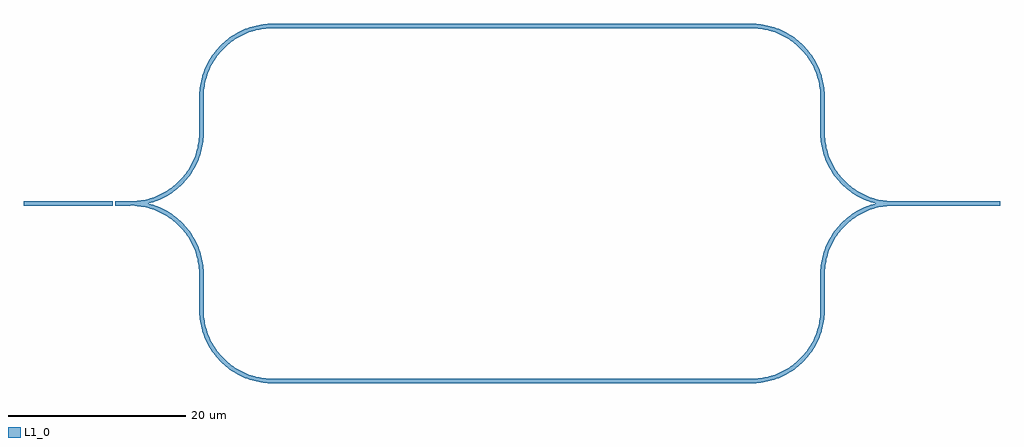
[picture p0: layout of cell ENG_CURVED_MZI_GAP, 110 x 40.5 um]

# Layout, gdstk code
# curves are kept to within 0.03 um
import gdstk
lib = gdstk.Library(unit=1e-6, precision=1e-09)
def R(c, l, rs):  # rectangles x0, y0, x1, y1
    for r in rs: c.add(gdstk.rectangle(r[:2], r[2:], *l))
def P(c, l, *ps):  # polygons
    for p in ps: c.add(gdstk.Polygon(p, *l))
L1_0 = (1, 0)

eng_curved_mzi_gap = lib.new_cell('ENG_CURVED_MZI_GAP')
R(eng_curved_mzi_gap, L1_0, [(-20,-0.25,-10,0.25)])
P(eng_curved_mzi_gap, L1_0, [(-8,-0.25),(-7.009,-0.314),(-6.034,-0.503),(-5.092,-0.816),(-4.197,-1.247),(-3.365,-1.789),(-2.608,-2.433),(-1.789,-3.365),(-1.247,-4.197),(-0.913,-4.863),(-0.645,-5.558),(-0.444,-6.275),(-0.314,-7.009),(-0.25,-8),(-0.234,-12.518),(-0.104,-13.546),(0.104,-14.387),(0.104,-6.454),(-0.154,-5.451),(-0.429,-4.724),(-0.899,-3.8),(-1.481,-2.944),(-2.166,-2.166),(-2.741,-1.643),(-3.579,-1.034),(-4.255,-0.649),(-5.205,-0.238),(-5.986,0),(-5.205,0.238),(-4.255,0.649),(-3.579,1.034),(-2.741,1.643),(-2.166,2.166),(-1.481,2.944),(-0.899,3.8),(-0.429,4.724),(-0.154,5.451),(0.104,6.454),(0.104,14.387),(-0.104,13.546),(-0.234,12.518),(-0.25,8),(-0.314,7.009),(-0.444,6.275),(-0.645,5.558),(-0.913,4.863),(-1.247,4.197),(-1.789,3.365),(-2.608,2.433),(-3.566,1.644),(-4.637,1.017),(-5.795,0.57),(-6.763,0.349),(-7.752,0.254),(-9.7,0.25),(-9.7,-0.25)],
  [(0.148,6.709),(0.246,7.741),(0.25,12),(0.314,12.991),(0.444,13.725),(0.645,14.442),(0.913,15.137),(1.247,15.803),(1.789,16.635),(2.433,17.392),(2.976,17.901),(3.772,18.495),(4.637,18.983),(5.795,19.43),(6.763,19.651),(8,19.75),(8,20.25),(6.966,20.185),(5.948,19.991),(4.963,19.671),(4.026,19.23),(2.944,18.519),(2.166,17.834),(1.481,17.056),(0.899,16.2),(0.429,15.276),(0.104,14.387),(0.104,6.454)],
  [(8,-19.75),(7.009,-19.686),(6.034,-19.497),(5.092,-19.184),(4.197,-18.753),(3.365,-18.211),(2.608,-17.567),(1.941,-16.832),(1.373,-16.018),(1.017,-15.363),(0.727,-14.677),(0.503,-13.966),(0.314,-12.991),(0.25,-12),(0.246,-7.741),(0.104,-6.454),(0.104,-14.387),(0.429,-15.276),(0.899,-16.2),(1.643,-17.259),(2.352,-18.014),(3.363,-18.823),(4.255,-19.351),(4.963,-19.671),(5.698,-19.922),(6.454,-20.104),(7.224,-20.213),(8,-20.25)],
  [(69.896,14.387),(69.465,15.513),(68.823,16.637),(68.014,17.648),(67.259,18.357),(66.2,19.101),(65.037,19.671),(64.052,19.991),(62.776,20.213),(62,20.25),(8,20.25),(8,19.75),(62,19.75),(62.744,19.714),(63.725,19.556),(64.677,19.273),(65.363,18.983),(66.228,18.495),(66.832,18.059),(67.392,17.567),(68.059,16.832),(68.495,16.228),(68.983,15.363),(69.273,14.677),(69.497,13.966),(69.714,12.744),(69.75,12),(69.754,7.741),(69.896,6.454)],
  [(62.259,-20.246),(63.291,-20.148),(64.302,-19.922),(65.513,-19.465),(66.421,-18.966),(67.259,-18.357),(68.014,-17.648),(68.674,-16.849),(69.23,-15.974),(69.571,-15.276),(69.896,-14.387),(69.896,-6.454),(69.754,-7.741),(69.75,-12),(69.714,-12.744),(69.497,-13.966),(69.273,-14.677),(68.983,-15.363),(68.495,-16.228),(68.059,-16.832),(67.567,-17.392),(66.832,-18.059),(66.228,-18.495),(65.363,-18.983),(64.677,-19.273),(63.725,-19.556),(62.744,-19.714),(62,-19.75),(8,-19.75),(8,-20.25)],
  [(69.922,-14.302),(70.104,-13.546),(70.234,-12.518),(70.254,-7.752),(70.349,-6.763),(70.503,-6.034),(70.913,-4.863),(71.505,-3.772),(71.941,-3.168),(72.433,-2.608),(73.365,-1.789),(74.197,-1.247),(75.092,-0.816),(76.034,-0.503),(77.009,-0.314),(78,-0.25),(90,-0.25),(90,0.25),(78,0.25),(77.256,0.286),(76.275,0.444),(75.323,0.727),(74.415,1.129),(73.566,1.644),(72.608,2.433),(71.789,3.365),(71.373,3.982),(71.017,4.637),(70.57,5.795),(70.349,6.763),(70.266,7.503),(70.234,12.518),(70.104,13.546),(69.896,14.387),(69.896,6.454),(70.154,5.451),(70.429,4.724),(70.899,3.8),(71.481,2.944),(72.166,2.166),(72.741,1.643),(73.579,1.034),(74.255,0.649),(75.205,0.238),(75.986,0),(75.205,-0.238),(74.255,-0.649),(73.579,-1.034),(72.741,-1.643),(72.166,-2.166),(71.481,-2.944),(70.899,-3.8),(70.429,-4.724),(70.154,-5.451),(69.896,-6.454)])

lib.write_gds('ENG_CURVED_MZI_GAP.gds')
